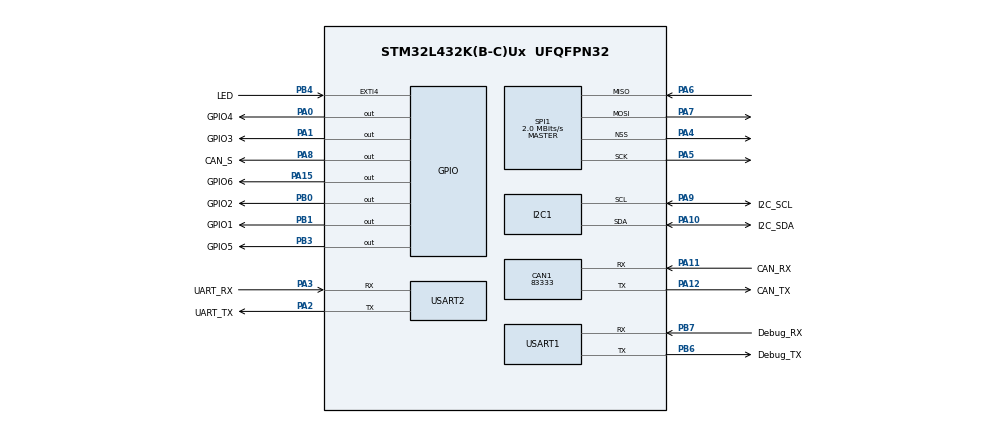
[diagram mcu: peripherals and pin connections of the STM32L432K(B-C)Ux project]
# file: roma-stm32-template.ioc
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CAN1.CalculateBaudRate=83333
CAN1.CalculateTimeBit=12000
CAN1.CalculateTimeQuantum=4000.0
I2C1.Timing=0x00100D14
Mcu.Family=STM32L4
Mcu.Name=STM32L432K(B-C)Ux
Mcu.Package=UFQFPN32
NVIC.PriorityGroup=NVIC_PRIORITYGROUP_4
PA0.GPIO_Label=GPIO4
PA0.Signal=GPIO_Output
PA1.GPIO_Label=GPIO3
PA1.Signal=GPIO_Output
PA10.GPIO_Label=I2C_SDA
PA10.Mode=I2C
PA10.Signal=I2C1_SDA
PA11.GPIO_Label=CAN_RX
PA11.Mode=CAN_Activate
PA11.Signal=CAN1_RX
PA12.GPIO_Label=CAN_TX
PA12.Mode=CAN_Activate
PA12.Signal=CAN1_TX
PA13\ (JTMS-SWDIO).GPIO_Label=JTAG_SWDIO
PA13\ (JTMS-SWDIO).Mode=Serial_Wire
PA13\ (JTMS-SWDIO).Signal=SYS_JTMS-SWDIO
PA14\ (JTCK-SWCLK).GPIO_Label=JTAG_SWCLK
PA14\ (JTCK-SWCLK).Mode=Serial_Wire
PA14\ (JTCK-SWCLK).Signal=SYS_JTCK-SWCLK
PA15\ (JTDI).GPIO_Label=GPIO6
PA15\ (JTDI).Signal=GPIO_Output
PA2.GPIO_Label=UART_TX
PA2.Mode=Asynchronous
PA2.Signal=USART2_TX
PA3.GPIO_Label=UART_RX
PA3.Mode=Asynchronous
PA3.Signal=USART2_RX
PA4.Mode=NSS_Signal_Hard_Output
PA4.Signal=SPI1_NSS
PA5.Mode=Full_Duplex_Master
PA5.Signal=SPI1_SCK
PA6.Mode=Full_Duplex_Master
PA6.Signal=SPI1_MISO
PA7.Mode=Full_Duplex_Master
PA7.Signal=SPI1_MOSI
PA8.GPIO_Label=CAN_S
PA8.Signal=GPIO_Output
PA9.GPIO_Label=I2C_SCL
PA9.Mode=I2C
PA9.Signal=I2C1_SCL
PB0.GPIO_Label=GPIO2
PB0.Signal=GPIO_Output
PB1.GPIO_Label=GPIO1
PB1.Signal=GPIO_Output
PB3\ (JTDO-TRACESWO).GPIO_Label=GPIO5
PB3\ (JTDO-TRACESWO).Signal=GPIO_Output
PB4\ (NJTRST).GPIO_Label=LED
PB4\ (NJTRST).Signal=GPXTI4
PB6.GPIO_Label=Debug_TX
PB6.Mode=Asynchronous
PB6.Signal=USART1_TX
PB7.GPIO_Label=Debug_RX
PB7.Mode=Asynchronous
PB7.Signal=USART1_RX
ProjectManager.HeapSize=0x200
ProjectManager.StackSize=0x400
ProjectManager.TargetToolchain=CMake
RCC.HSE_VALUE=8000000
RCC.HSI48_VALUE=48000000
RCC.HSI_VALUE=16000000
RCC.LSE_VALUE=32768
RCC.MSI_VALUE=4000000
RCC.VCOOutputFreq_Value=32000000
SPI1.CalculateBaudRate=2.0 MBits/s
SPI1.Direction=SPI_DIRECTION_2LINES
SPI1.Mode=SPI_MODE_MASTER
SPI1.VirtualNSS=VM_NSSHARD
SPI1.VirtualType=VM_MASTER
USART1.VirtualMode-Asynchronous=VM_ASYNC
USART2.VirtualMode-Asynchronous=VM_ASYNC
board=custom

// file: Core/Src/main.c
/* USER CODE BEGIN Header */
/**
  ******************************************************************************
  * @file           : main.c
  * @brief          : Main program body
  ******************************************************************************
  * @attention
  *
  * Copyright (c) 2025 STMicroelectronics.
  * All rights reserved.
  *
  * This software is licensed under terms that can be found in the LICENSE file
  * in the root directory of this software component.
  * If no LICENSE file comes with this software, it is provided AS-IS.
  *
  ******************************************************************************
  */
/* USER CODE END Header */
#include "main.h"
#include "debug.h"

CAN_HandleTypeDef hcan1;

I2C_HandleTypeDef hi2c1;

SPI_HandleTypeDef hspi1;

UART_HandleTypeDef huart1;
UART_HandleTypeDef huart2;

void SystemClock_Config(void);
static void MX_GPIO_Init(void);
static void MX_CAN1_Init(void);
static void MX_I2C1_Init(void);
static void MX_SPI1_Init(void);
static void MX_USART1_UART_Init(void);
static void MX_USART2_UART_Init(void);
/* USER CODE BEGIN PFP */
void blink(void);
void init_mcu(void);
/* USER CODE END PFP */

/* USER CODE BEGIN 0 */
int main(void) {
  init_mcu();
  fDebugPrint("MCU Initialized");

  while (1) {

    blink();
    HAL_Delay(100);
  }
}

void blink(void) {
  HAL_GPIO_TogglePin(LED_GPIO_Port, LED_Pin);
}

void init_mcu(void) {
  HAL_Init();

  SystemClock_Config();

  MX_GPIO_Init();
  MX_CAN1_Init();
  MX_I2C1_Init();
  MX_SPI1_Init();
  MX_USART1_UART_Init();
  MX_USART2_UART_Init();
}

/* USER CODE END 0 */

void SystemClock_Config(void)
{
  RCC_OscInitTypeDef RCC_OscInitStruct = {0};
  RCC_ClkInitTypeDef RCC_ClkInitStruct = {0};

  /** Configure the main internal regulator output voltage
  */
  if (HAL_PWREx_ControlVoltageScaling(PWR_REGULATOR_VOLTAGE_SCALE1) != HAL_OK)
  {
    Error_Handler();
  }

  /** Initializes the RCC Oscillators according to the specified parameters
  * in the RCC_OscInitTypeDef structure.
  */
  RCC_OscInitStruct.OscillatorType = RCC_OSCILLATORTYPE_MSI;
  RCC_OscInitStruct.MSIState = RCC_MSI_ON;
  RCC_OscInitStruct.MSICalibrationValue = 0;
  RCC_OscInitStruct.MSIClockRange = RCC_MSIRANGE_6;
  RCC_OscInitStruct.PLL.PLLState = RCC_PLL_NONE;
  if (HAL_RCC_OscConfig(&RCC_OscInitStruct) != HAL_OK)
  {
    Error_Handler();
  }

  /** Initializes the CPU, AHB and APB buses clocks
  */
  RCC_ClkInitStruct.ClockType = RCC_CLOCKTYPE_HCLK|RCC_CLOCKTYPE_SYSCLK
                              |RCC_CLOCKTYPE_PCLK1|RCC_CLOCKTYPE_PCLK2;
  RCC_ClkInitStruct.SYSCLKSource = RCC_SYSCLKSOURCE_MSI;
  RCC_ClkInitStruct.AHBCLKDivider = RCC_SYSCLK_DIV1;
  RCC_ClkInitStruct.APB1CLKDivider = RCC_HCLK_DIV1;
  RCC_ClkInitStruct.APB2CLKDivider = RCC_HCLK_DIV1;

  if (HAL_RCC_ClockConfig(&RCC_ClkInitStruct, FLASH_LATENCY_0) != HAL_OK)
  {
    Error_Handler();
  }
}

static void MX_CAN1_Init(void)
{

  hcan1.Instance = CAN1;
  hcan1.Init.Prescaler = 16;
  hcan1.Init.Mode = CAN_MODE_NORMAL;
  hcan1.Init.SyncJumpWidth = CAN_SJW_1TQ;
  hcan1.Init.TimeSeg1 = CAN_BS1_1TQ;
  hcan1.Init.TimeSeg2 = CAN_BS2_1TQ;
  hcan1.Init.TimeTriggeredMode = DISABLE;
  hcan1.Init.AutoBusOff = DISABLE;
  hcan1.Init.AutoWakeUp = DISABLE;
  hcan1.Init.AutoRetransmission = DISABLE;
  hcan1.Init.ReceiveFifoLocked = DISABLE;
  hcan1.Init.TransmitFifoPriority = DISABLE;
  if (HAL_CAN_Init(&hcan1) != HAL_OK)
  {
    Error_Handler();
  }

}

static void MX_I2C1_Init(void)
{

  hi2c1.Instance = I2C1;
  hi2c1.Init.Timing = 0x00100D14;
  hi2c1.Init.OwnAddress1 = 0;
  hi2c1.Init.AddressingMode = I2C_ADDRESSINGMODE_7BIT;
  hi2c1.Init.DualAddressMode = I2C_DUALADDRESS_DISABLE;
  hi2c1.Init.OwnAddress2 = 0;
  hi2c1.Init.OwnAddress2Masks = I2C_OA2_NOMASK;
  hi2c1.Init.GeneralCallMode = I2C_GENERALCALL_DISABLE;
  hi2c1.Init.NoStretchMode = I2C_NOSTRETCH_DISABLE;
  if (HAL_I2C_Init(&hi2c1) != HAL_OK)
  {
    Error_Handler();
  }

  /** Configure Analogue filter
  */
  if (HAL_I2CEx_ConfigAnalogFilter(&hi2c1, I2C_ANALOGFILTER_ENABLE) != HAL_OK)
  {
    Error_Handler();
  }

  /** Configure Digital filter
  */
  if (HAL_I2CEx_ConfigDigitalFilter(&hi2c1, 0) != HAL_OK)
  {
    Error_Handler();
  }

}

static void MX_SPI1_Init(void)
{

  /* SPI1 parameter configuration*/
  hspi1.Instance = SPI1;
  hspi1.Init.Mode = SPI_MODE_MASTER;
  hspi1.Init.Direction = SPI_DIRECTION_2LINES;
  hspi1.Init.DataSize = SPI_DATASIZE_4BIT;
  hspi1.Init.CLKPolarity = SPI_POLARITY_LOW;
  hspi1.Init.CLKPhase = SPI_PHASE_1EDGE;
  hspi1.Init.NSS = SPI_NSS_HARD_OUTPUT;
  hspi1.Init.BaudRatePrescaler = SPI_BAUDRATEPRESCALER_2;
  hspi1.Init.FirstBit = SPI_FIRSTBIT_MSB;
  hspi1.Init.TIMode = SPI_TIMODE_DISABLE;
  hspi1.Init.CRCCalculation = SPI_CRCCALCULATION_DISABLE;
  hspi1.Init.CRCPolynomial = 7;
  hspi1.Init.CRCLength = SPI_CRC_LENGTH_DATASIZE;
  hspi1.Init.NSSPMode = SPI_NSS_PULSE_ENABLE;
  if (HAL_SPI_Init(&hspi1) != HAL_OK)
  {
    Error_Handler();
  }

}

static void MX_USART1_UART_Init(void)
{

  huart1.Instance = USART1;
  huart1.Init.BaudRate = 115200;
  huart1.Init.WordLength = UART_WORDLENGTH_8B;
  huart1.Init.StopBits = UART_STOPBITS_1;
  huart1.Init.Parity = UART_PARITY_NONE;
  huart1.Init.Mode = UART_MODE_TX_RX;
  huart1.Init.HwFlowCtl = UART_HWCONTROL_NONE;
  huart1.Init.OverSampling = UART_OVERSAMPLING_16;
  huart1.Init.OneBitSampling = UART_ONE_BIT_SAMPLE_DISABLE;
  huart1.AdvancedInit.AdvFeatureInit = UART_ADVFEATURE_NO_INIT;
  if (HAL_UART_Init(&huart1) != HAL_OK)
  {
    Error_Handler();
  }

}

static void MX_USART2_UART_Init(void)
{

  huart2.Instance = USART2;
  huart2.Init.BaudRate = 115200;
  huart2.Init.WordLength = UART_WORDLENGTH_8B;
  huart2.Init.StopBits = UART_STOPBITS_1;
  huart2.Init.Parity = UART_PARITY_NONE;
  huart2.Init.Mode = UART_MODE_TX_RX;
  huart2.Init.HwFlowCtl = UART_HWCONTROL_NONE;
  huart2.Init.OverSampling = UART_OVERSAMPLING_16;
  huart2.Init.OneBitSampling = UART_ONE_BIT_SAMPLE_DISABLE;
  huart2.AdvancedInit.AdvFeatureInit = UART_ADVFEATURE_NO_INIT;
  if (HAL_UART_Init(&huart2) != HAL_OK)
  {
    Error_Handler();
  }

}

static void MX_GPIO_Init(void)
{
  GPIO_InitTypeDef GPIO_InitStruct = {0};

  /* GPIO Ports Clock Enable */
  __HAL_RCC_GPIOA_CLK_ENABLE();
  __HAL_RCC_GPIOB_CLK_ENABLE();

  /*Configure GPIO pin Output Level */
  HAL_GPIO_WritePin(GPIOA, GPIO4_Pin|GPIO3_Pin|CAN_S_Pin|GPIO6_Pin, GPIO_PIN_RESET);

  /*Configure GPIO pin Output Level */
  HAL_GPIO_WritePin(GPIOB, GPIO2_Pin|GPIO1_Pin|GPIO5_Pin, GPIO_PIN_RESET);

  /*Configure GPIO pins : GPIO4_Pin GPIO3_Pin CAN_S_Pin GPIO6_Pin */
  GPIO_InitStruct.Pin = GPIO4_Pin|GPIO3_Pin|CAN_S_Pin|GPIO6_Pin;
  GPIO_InitStruct.Mode = GPIO_MODE_OUTPUT_PP;
  GPIO_InitStruct.Pull = GPIO_NOPULL;
  GPIO_InitStruct.Speed = GPIO_SPEED_FREQ_LOW;
  HAL_GPIO_Init(GPIOA, &GPIO_InitStruct);

  /*Configure GPIO pins : GPIO2_Pin GPIO1_Pin GPIO5_Pin */
  GPIO_InitStruct.Pin = GPIO2_Pin|GPIO1_Pin|GPIO5_Pin;
  GPIO_InitStruct.Mode = GPIO_MODE_OUTPUT_PP;
  GPIO_InitStruct.Pull = GPIO_NOPULL;
  GPIO_InitStruct.Speed = GPIO_SPEED_FREQ_LOW;
  HAL_GPIO_Init(GPIOB, &GPIO_InitStruct);

  /*Configure GPIO pin : LED_Pin */
  GPIO_InitStruct.Pin = LED_Pin;
  GPIO_InitStruct.Mode = GPIO_MODE_IT_RISING;
  GPIO_InitStruct.Pull = GPIO_NOPULL;
  HAL_GPIO_Init(LED_GPIO_Port, &GPIO_InitStruct);

}

void Error_Handler(void)
{
  __disable_irq();
  while (1)
  {
  }
}
